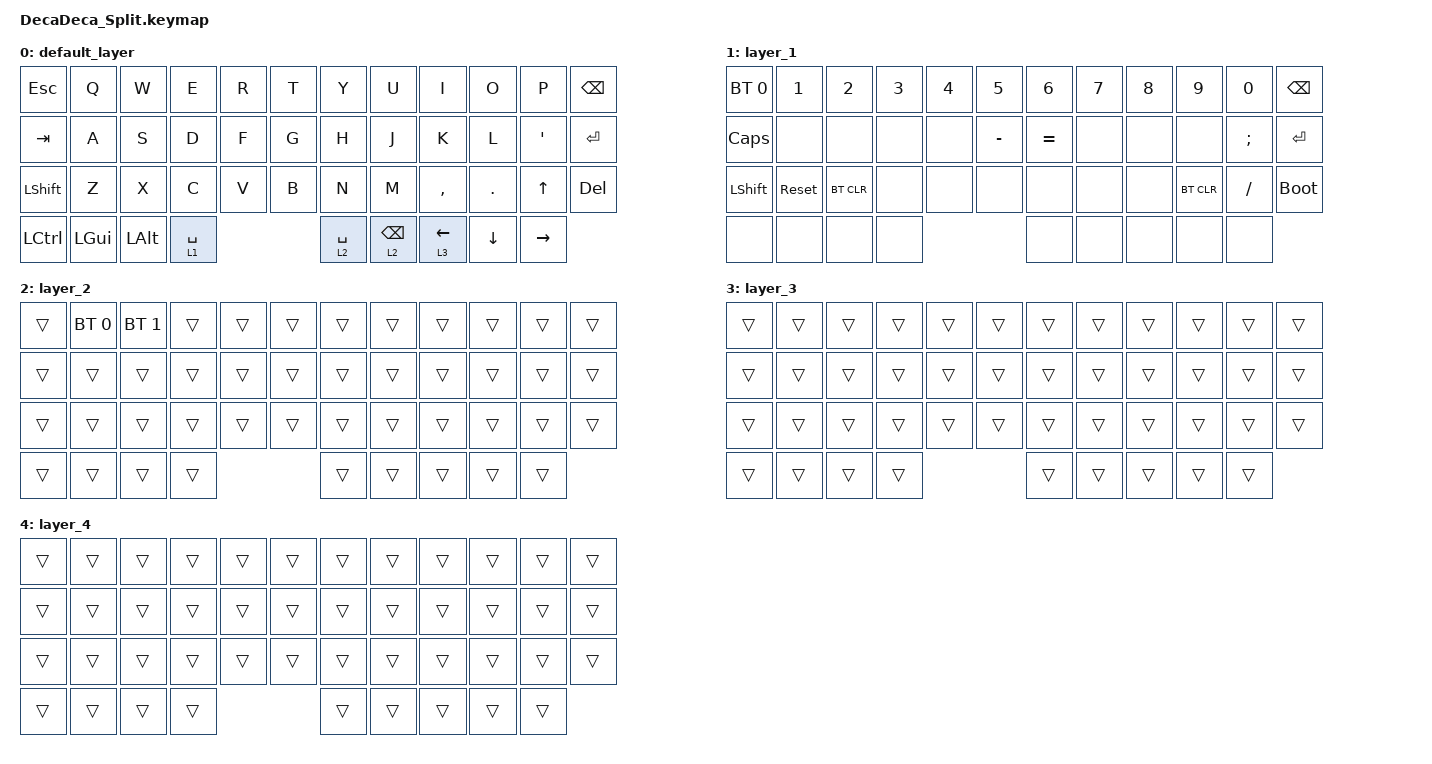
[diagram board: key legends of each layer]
#include <dt-bindings/zmk/mouse.h>
#include <behaviors.dtsi>
#include <dt-bindings/zmk/bt.h>
#include <dt-bindings/zmk/keys.h>

/ {
    combos {
        compatible = "zmk,combos";

        altf4 {
            bindings = <&kp LA(F4)>;
            key-positions = <16 17>;
        };

        lock {
            bindings = <&kp LG(L)>;
            key-positions = <28 29>;
        };

        win {
            bindings = <&kp LG(E)>;
            key-positions = <15 14>;
        };
    };

    keymap {
        compatible = "zmk,keymap";

        default_layer {
            bindings = <
&kp ESC    &kp Q     &kp W     &kp E        &kp R  &kp T  &kp Y        &kp U            &kp I       &kp O     &kp P         &kp BACKSPACE
&kp TAB    &kp A     &kp S     &kp D        &kp F  &kp G  &kp H        &kp J            &kp K       &kp L     &kp APOS      &kp ENTER
&kp LSHFT  &kp Z     &kp X     &kp C        &kp V  &kp B  &kp N        &kp M            &kp COMMA   &kp DOT   &kp UP_ARROW  &kp DELETE
&kp LCTRL  &kp LGUI  &kp LALT  &lt 1 SPACE                &lt 2 SPACE  &lt 2 BACKSPACE  &lt 3 LEFT  &kp DOWN  &kp RIGHT
            >;
        };

        layer_1 {
            bindings = <
&bt BT_SEL 0  &kp N1      &kp N2      &kp N3  &kp N4  &kp N5     &kp N6     &kp N7  &kp N8  &kp N9      &kp N0    &kp BSPC
&kp CAPS      &none       &none       &none   &none   &kp MINUS  &kp EQUAL  &none   &none   &none       &kp SEMI  &kp ENTER
&kp LSHFT     &sys_reset  &bt BT_CLR  &none   &none   &none      &none      &none   &none   &bt BT_CLR  &kp FSLH  &bootloader
&none         &none       &none       &none                      &none      &none   &none   &none       &none
            >;
        };

        layer_2 {
            bindings = <
&trans  &bt BT_SEL 0  &bt BT_SEL 1  &trans  &trans  &trans  &trans  &trans  &trans  &trans  &trans  &trans
&trans  &trans        &trans        &trans  &trans  &trans  &trans  &trans  &trans  &trans  &trans  &trans
&trans  &trans        &trans        &trans  &trans  &trans  &trans  &trans  &trans  &trans  &trans  &trans
&trans  &trans        &trans        &trans                  &trans  &trans  &trans  &trans  &trans
            >;
        };

        layer_3 {
            bindings = <
&trans  &trans  &trans  &trans  &trans  &trans  &trans  &trans  &trans  &trans  &trans  &trans
&trans  &trans  &trans  &trans  &trans  &trans  &trans  &trans  &trans  &trans  &trans  &trans
&trans  &trans  &trans  &trans  &trans  &trans  &trans  &trans  &trans  &trans  &trans  &trans
&trans  &trans  &trans  &trans                  &trans  &trans  &trans  &trans  &trans
            >;
        };

        layer_4 {
            bindings = <
&trans  &trans  &trans  &trans  &trans  &trans  &trans  &trans  &trans  &trans  &trans  &trans
&trans  &trans  &trans  &trans  &trans  &trans  &trans  &trans  &trans  &trans  &trans  &trans
&trans  &trans  &trans  &trans  &trans  &trans  &trans  &trans  &trans  &trans  &trans  &trans
&trans  &trans  &trans  &trans                  &trans  &trans  &trans  &trans  &trans
            >;
        };
    };
};
